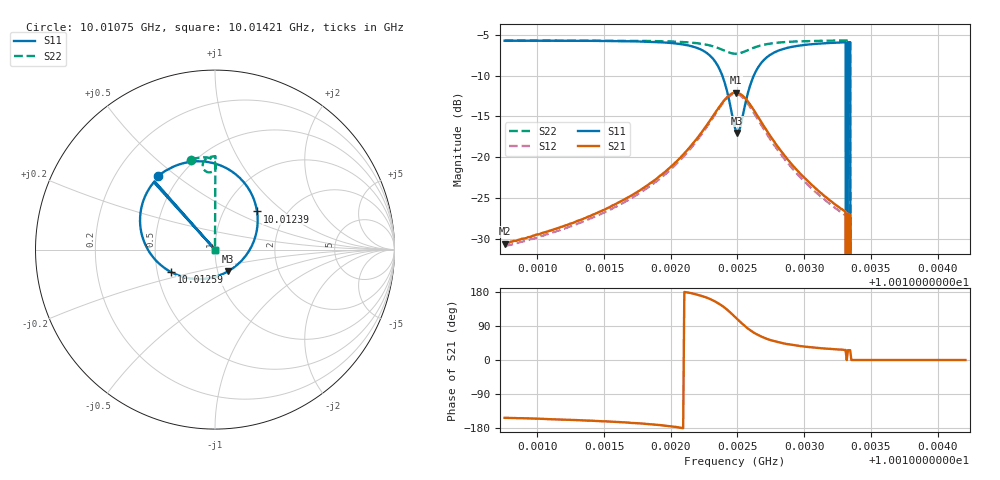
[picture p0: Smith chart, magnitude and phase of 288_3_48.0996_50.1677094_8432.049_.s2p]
#  HZ  S  RI  R  50.00
! Rohde & Schwarz Vector Network Analyzer
! Rohde-Schwarz,ZNB20-2Port,1311601062101988,3.16
! Created: UTC 12/23/2023, 4:03:29 AM
! freq[Hz]  re:S11  im:S11  re:S21  im:S21  re:S12  im:S12  re:S22  im:S22
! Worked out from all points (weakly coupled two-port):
!   401 points, 10.01075 GHz to 10.01421 GHz, reference 50 ohm
!   highest |S21| = -12.07 dB at 10.01249 GHz (marker M1); lowest = -30.6 dB at 10.01075 GHz (marker M2)
!   lowest |S11| = -17.0 dB at 10.0125 GHz (marker M3), VSWR 1.33, Z = 55.9 - j13.9 ohm
!   |S11| at or under -10 dB: 10.01239 GHz to 10.01262 GHz (235.4 kHz wide, 0.00235 % of centre); 10.01331 GHz to 10.01333 GHz (16.9 kHz wide, 0.000169 % of centre); 10.01334 GHz to end of sweep
!   |S22| runs from - to -5.7 dB; largest |S21 - S12| = 0.044
!   S11 on the Smith chart (normalised r, x): 10.01075 GHz: 0.38, +0.43; 10.01239 GHz: 1.42, +0.67; 10.01259 GHz: 0.59, -0.16; 10.01421 GHz: 1.00, +0.00
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1.0010754e10  -0.3195 0.4086  -0.0262 -0.0136  -0.0244 -0.0146  -0.1347 0.5019
1.0011333e10  -0.2617 0.4471  -0.0388 -0.0147  -0.0366 -0.016  -0.0946 0.511
1.0011911e10  -0.1391 0.4889  -0.0751 -0.0113  -0.0715 -0.0147  -0.0462 0.5132
1.0012231e10  0.0691 0.4506  -0.1394 0.0271  -0.1372 0.0184  -0.00711 0.4965
1.0012317e10  0.1699 0.3635  -0.1651 0.0697  -0.1654 0.0592  0.00336 0.4793
1.0012386e10  0.2342 0.2129  -0.1719 0.1307  -0.1752 0.1201  0.00364 0.4569
1.0012438e10  0.217 0.0483  -0.1475 0.1894  -0.1529 0.1805  -0.00823 0.4388
1.0012481e10  0.1265 -0.0825  -0.1 0.228  -0.1065 0.2205  -0.0267 0.4306
1.001249e10  0.1 -0.1037  -0.0881 0.2331  -0.0938 0.226  -0.0312 0.4303
1.0012499e10  0.0714 -0.1218  -0.0757 0.2368  -0.0821 0.2297  -0.0354 0.4303
1.0012542e10  -0.082 -0.1642  -0.0159 0.2368  -0.0216 0.2301  -0.0542 0.438
1.0012594e10  -0.2431 -0.1263  0.0407 0.2071  0.0343 0.2008  -0.0668 0.4553
1.0012732e10  -0.4085 0.0866  0.0818 0.1142  0.0743 0.1116  -0.0614 0.4922
1.001306e10  -0.3812 0.3148  0.0561 0.0371  0.0519 0.0374  -0.0235 0.5166
1.0013293e10  -0.3438 0.3724  0.0422 0.0214  0.039 0.0224  -0.00227 0.5203
1.0013302e10  -0.3423 0.3738  0.0419 0.0209  0.0386 0.0219  -0.00152 0.5204
1.0013328e10  -0.3387 0.3783  0.0407 0.0198  0.0377 0.0207  0.000579 0.5207
1.0013336e10  -0.3375 0.3797  0.0402 0.0195  0.0373 0.0205  0.00127 0.5207
1.0013345e10  -0.3363 0.381  0.0399 0.0193  0.0371 0.0201  0.00217 0.5207
1.0013371e10  0 0  0 0  0 0  0 0
1.0013638e10  0 0  0 0  0 0  0 0
1.0014208e10  0 0  0 0  0 0  0 0
